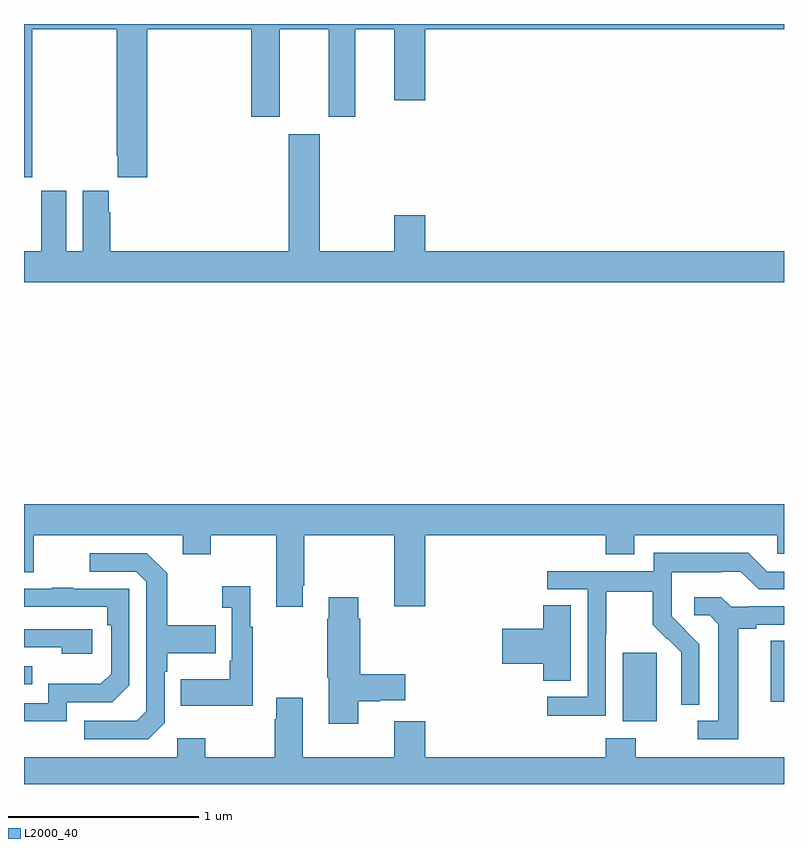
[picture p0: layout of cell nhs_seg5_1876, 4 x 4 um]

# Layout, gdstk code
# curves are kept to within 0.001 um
import gdstk
lib = gdstk.Library(unit=1e-6, precision=1e-09)
def R(c, l, rs):  # rectangles x0, y0, x1, y1
    for r in rs: c.add(gdstk.rectangle(r[:2], r[2:], *l))
def P(c, l, *ps):  # polygons
    for p in ps: c.add(gdstk.Polygon(p, *l))
L2000_40 = (2000, 40)

nhs_seg5_1876 = lib.new_cell('nhs_seg5_1876')
R(nhs_seg5_1876, L2000_40, [(226.151,841.13,226.33,841.491), (226.931,841.233,227,841.553), (223,841.323,223.043,841.419)])
P(nhs_seg5_1876, L2000_40, [(223.044,844.772),(223.489,844.772),(223.489,844.105),(223.493,844.105),(223.493,843.993),(223.649,843.993),(223.649,844.772),(224.195,844.772),(224.195,844.311),(224.347,844.311),(224.347,844.772),(224.603,844.772),(224.603,844.311),(224.743,844.311),(224.743,844.772),(224.948,844.772),(224.948,844.398),(225.112,844.398),(225.112,844.772),(227,844.772),(227,844.799),(223,844.799),(223,843.993),(223.044,843.993)],
  [(227,843.604),(225.112,843.604),(225.112,843.793),(224.948,843.793),(224.948,843.604),(224.557,843.604),(224.557,844.219),(224.393,844.219),(224.393,843.604),(223.454,843.604),(223.454,843.809),(223.447,843.809),(223.447,843.922),(223.31,843.922),(223.31,843.604),(223.222,843.604),(223.222,843.922),(223.091,843.922),(223.091,843.604),(223,843.604),(223,843.44),(227,843.44)],
  [(224.467,841.843),(224.475,841.843),(224.475,842.108),(224.948,842.108),(224.948,841.734),(225.112,841.734),(225.112,842.108),(226.061,842.108),(226.061,842.009),(226.213,842.009),(226.213,842.108),(226.965,842.108),(226.965,842.01),(227,842.01),(227,842.272),(223,842.272),(223,841.914),(223.051,841.914),(223.051,842.108),(223.835,842.108),(223.835,842.009),(223.983,842.009),(223.983,842.108),(224.327,842.108),(224.327,841.731),(224.467,841.731)],
  [(226.062,841.588),(226.065,841.588),(226.065,841.812),(226.309,841.812),(226.309,841.637),(226.386,841.56),(226.389,841.563),(226.46,841.493),(226.46,841.37),(226.458,841.37),(226.458,841.216),(226.554,841.216),(226.554,841.534),(226.408,841.682),(226.408,841.779),(226.41,841.779),(226.41,841.913),(226.673,841.913),(226.673,841.917),(226.773,841.917),(226.866,841.824),(227,841.824),(227,841.917),(226.911,841.917),(226.811,842.017),(226.314,842.017),(226.314,841.92),(225.753,841.92),(225.753,841.824),(225.966,841.824),(225.966,841.257),(225.753,841.257),(225.753,841.159),(226.062,841.159)],
  [(223.74,841.122),(223.74,841.391),(223.753,841.391),(223.753,841.487),(224.009,841.487),(224.009,841.635),(223.753,841.635),(223.753,841.907),(223.647,842.013),(223.347,842.013),(223.347,841.917),(223.59,841.917),(223.644,841.863),(223.644,841.182),(223.593,841.131),(223.317,841.131),(223.317,841.035),(223.653,841.035)],
  [(224.203,841.627),(224.191,841.627),(224.191,841.84),(224.043,841.84),(224.043,841.727),(224.094,841.727),(224.094,841.447),(224.082,841.447),(224.082,841.351),(223.825,841.351),(223.825,841.211),(224.203,841.211)],
  [(223.224,841.23),(223.464,841.23),(223.554,841.32),(223.554,841.827),(223.259,841.827),(223.259,841.832),(223.147,841.832),(223.147,841.827),(223,841.827),(223,841.731),(223.438,841.731),(223.438,841.634),(223.458,841.634),(223.458,841.38),(223.405,841.327),(223.128,841.327),(223.128,841.224),(223,841.224),(223,841.128),(223.224,841.128)],
  [(224.758,841.234),(224.874,841.234),(224.874,841.241),(225.007,841.241),(225.007,841.376),(224.771,841.376),(224.771,841.67),(224.758,841.67),(224.758,841.783),(224.603,841.783),(224.603,841.67),(224.596,841.67),(224.596,841.359),(224.603,841.359),(224.603,841.116),(224.758,841.116)],
  [(226.759,841.616),(226.855,841.616),(226.855,841.638),(227,841.638),(227,841.734),(226.816,841.734),(226.816,841.731),(226.722,841.731),(226.67,841.783),(226.527,841.783),(226.527,841.686),(226.608,841.686),(226.655,841.639),(226.655,841.131),(226.545,841.131),(226.545,841.035),(226.759,841.035)],
  [(225.877,841.739),(225.734,841.739),(225.734,841.616),(225.516,841.616),(225.516,841.433),(225.734,841.433),(225.734,841.342),(225.877,841.342)],
  [(223.36,841.614),(223,841.614),(223,841.518),(223.199,841.518),(223.199,841.484),(223.36,841.484)],
  [(227,840.94),(226.221,840.94),(226.221,841.039),(226.061,841.039),(226.061,840.94),(225.112,840.94),(225.112,841.129),(224.948,841.129),(224.948,840.94),(224.467,840.94),(224.467,841.252),(224.327,841.252),(224.327,841.139),(224.32,841.139),(224.32,840.94),(223.953,840.94),(223.953,841.039),(223.806,841.039),(223.806,840.94),(223,840.94),(223,840.799),(227,840.799)])

lib.write_gds('nhs_seg5_1876.gds')
